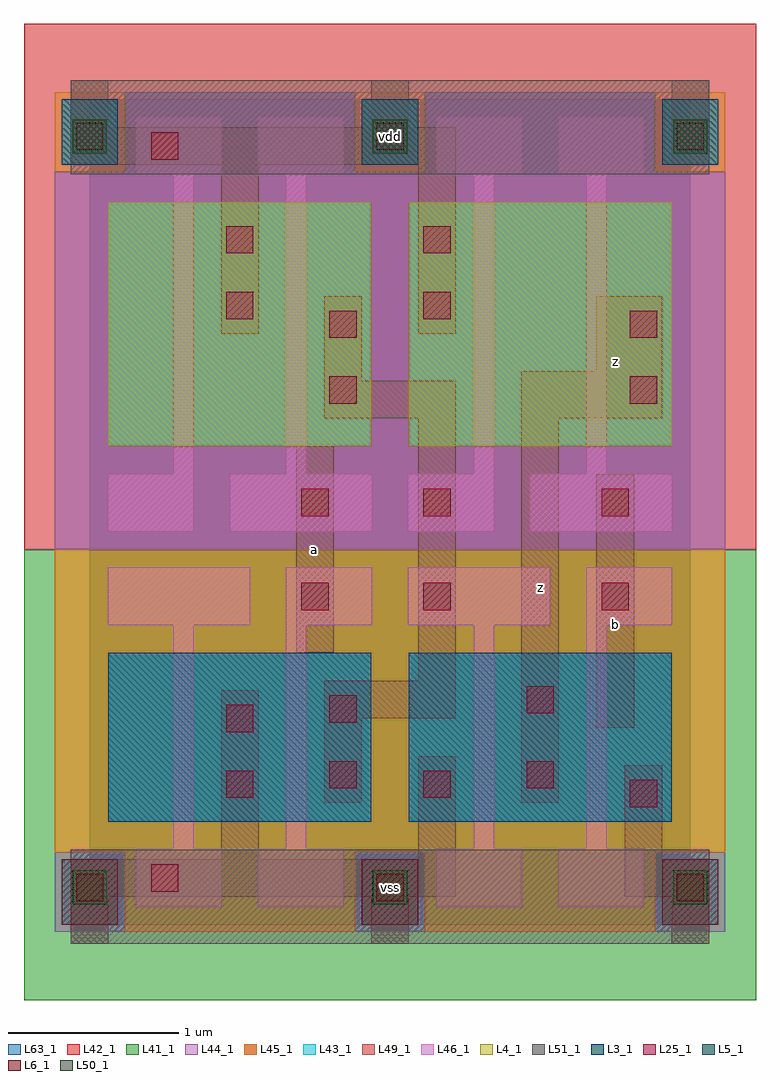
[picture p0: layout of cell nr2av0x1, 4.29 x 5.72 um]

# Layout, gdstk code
import gdstk
lib = gdstk.Library(unit=1e-6, precision=1e-09)
def R(c, l, rs):  # rectangles x0, y0, x1, y1
    for r in rs: c.add(gdstk.rectangle(r[:2], r[2:], *l))
def A(c, l, x, y, w, h, nx, ny, dx, dy):  # array of equal rectangles
    R(c, l, [(x+i*dx, y+j*dy, x+i*dx+w, y+j*dy+h) for i in range(nx) for j in range(ny)])
L3_1 = (3, 1)
L4_1 = (4, 1)
L5_1 = (5, 1)
L6_1 = (6, 1)
L25_1 = (25, 1)
L41_1 = (41, 1)
L42_1 = (42, 1)
L43_1 = (43, 1)
L44_1 = (44, 1)
L45_1 = (45, 1)
L46_1 = (46, 1)
L49_1 = (49, 1)
L50_1 = (50, 1)
L51_1 = (51, 1)
L63_1 = (63, 1)

nr2av0x1 = lib.new_cell('nr2av0x1')
R(nr2av0x1, L3_1, [(0.11,0.605,1.65,1.595), (1.87,0.605,3.41,1.595)])
R(nr2av0x1, L4_1, [(0.11,2.805,1.65,4.235), (1.87,2.805,3.41,4.235)])
A(nr2av0x1, L5_1, -0.165, 4.455, 0.33, 0.385, 3, 1, 1.76, 0)
A(nr2av0x1, L6_1, -0.165, 0, 0.33, 0.385, 3, 1, 1.76, 0)
A(nr2av0x1, L25_1, -0.08, 0.14, 0.16, 0.16, 3, 2, 1.76, 4.4)
R(nr2av0x1, L25_1, [(0.36,0.195,0.52,0.355), (3.165,0.69,3.325,0.85), (0.8,0.745,0.96,0.905), (1.955,0.745,2.115,0.905), (1.405,0.8,1.565,0.96), (2.56,0.8,2.72,0.96), (0.8,1.13,0.96,1.29), (1.405,1.185,1.565,1.345), (2.56,1.24,2.72,1.4), (1.24,1.845,1.4,2.005), (1.955,1.845,2.115,2.005), (3,1.845,3.16,2.005), (1.24,2.395,1.4,2.555), (1.955,2.395,2.115,2.555), (3,2.395,3.16,2.555), (1.405,3.055,1.565,3.215), (3.165,3.055,3.325,3.215), (1.405,3.44,1.565,3.6), (3.165,3.44,3.325,3.6), (0.8,3.55,0.96,3.71), (1.955,3.55,2.115,3.71), (0.8,3.935,0.96,4.095), (1.955,3.935,2.115,4.095), (0.36,4.485,0.52,4.645)])
R(nr2av0x1, L41_1, [(-0.385,-0.44,3.905,2.2)])
R(nr2av0x1, L42_1, [(-0.385,2.2,3.905,5.28)])
A(nr2av0x1, L43_1, -0.165, 0, 0.33, 0.385, 3, 2, 1.76, 4.455)
R(nr2av0x1, L43_1, [(0.11,0.605,1.65,1.595), (1.87,0.605,3.41,1.595), (0.11,2.805,1.65,4.235), (1.87,2.805,3.41,4.235)])
A(nr2av0x1, L44_1, -0.205, -0.04, 0.41, 0.465, 3, 1, 1.76, 0)
R(nr2av0x1, L44_1, [(-0.205,2.2,3.725,4.415), (0.205,4.415,1.555,4.88), (1.965,4.415,3.315,4.88)])
A(nr2av0x1, L45_1, -0.205, 4.415, 0.41, 0.465, 3, 1, 1.76, 0)
R(nr2av0x1, L45_1, [(0.205,-0.04,1.555,0.425), (1.965,-0.04,3.315,0.425), (-0.205,0.425,3.725,2.2)])
R(nr2av0x1, L46_1, [(0.27,0.105,0.775,0.445), (0.985,0.105,1.49,0.445), (2.03,0.105,2.535,0.445), (2.745,0.105,3.25,0.445), (0.49,0.445,0.61,1.755), (1.15,0.445,1.27,1.755), (2.25,0.445,2.37,1.755), (2.91,0.445,3.03,1.755), (0.105,1.755,0.94,2.095), (1.15,1.755,1.655,2.095), (1.865,1.755,2.7,2.095), (2.91,1.755,3.415,2.095), (0.105,2.305,0.61,2.645), (0.82,2.305,1.655,2.645), (1.865,2.305,2.37,2.645), (2.58,2.305,3.415,2.645), (0.49,2.645,0.61,4.395), (1.15,2.645,1.27,4.395), (2.25,2.645,2.37,4.395), (2.91,2.645,3.03,4.395), (0.27,4.395,0.775,4.735), (0.985,4.395,1.49,4.735), (2.03,4.395,2.535,4.735), (2.745,4.395,3.25,4.735)])
A(nr2av0x1, L49_1, -0.11, -0.11, 0.22, 0.275, 3, 1, 1.76, 0)
R(nr2av0x1, L49_1, [(-0.11,0.165,2.145,0.385), (3.135,0.165,3.63,0.385), (0.77,0.385,0.99,1.375), (1.925,0.385,2.145,0.99), (3.135,0.385,3.355,0.935), (1.375,0.715,1.595,1.21), (2.53,0.715,2.75,2.97), (2.97,1.155,3.19,2.64), (1.375,1.21,2.145,1.43), (1.925,1.43,2.145,2.97), (1.21,1.595,1.43,2.805), (1.375,2.97,2.145,3.19), (2.53,2.97,3.355,3.245), (1.375,3.19,1.595,3.685), (2.97,3.245,3.355,3.685), (0.77,3.465,0.99,4.455), (1.925,3.465,2.145,4.455), (-0.11,4.455,2.145,4.675), (3.41,4.455,3.63,4.95), (-0.11,4.675,0.11,4.95), (1.65,4.675,1.87,4.95)])
A(nr2av0x1, L50_1, -0.1, 0.12, 0.2, 0.2, 3, 2, 1.76, 4.4)
R(nr2av0x1, L51_1, [(-0.11,-0.11,3.63,0.44), (-0.11,4.4,3.63,4.95)])
R(nr2av0x1, L63_1, [(0,0,3.52,4.84)])
nr2av0x1.add(gdstk.Label('a', (1.32,2.2), layer=49, texttype=1))
nr2av0x1.add(gdstk.Label('z', (2.64,1.98), layer=49, texttype=1))
nr2av0x1.add(gdstk.Label('b', (3.08,1.76), layer=49, texttype=1))
nr2av0x1.add(gdstk.Label('z', (3.08,3.3), layer=49, texttype=1))
nr2av0x1.add(gdstk.Label('vss', (1.76,0.22), layer=51, texttype=1))
nr2av0x1.add(gdstk.Label('vdd', (1.76,4.62), layer=51, texttype=1))

lib.write_gds('nr2av0x1.gds')
